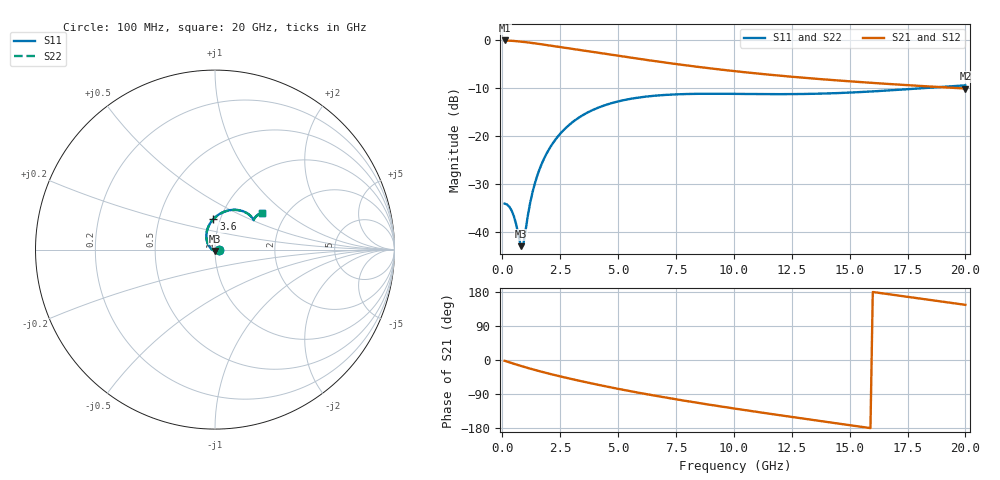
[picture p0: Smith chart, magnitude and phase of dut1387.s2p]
! Touchstone file exported from HFSS 2024.1.0
!  File:  C:/UserFiles/LocalFiles/RDL_TSV_Batchsim/temp_RDL_TSV_1387_1780402795.aedt
!  Generated:  08:34:44 PM Jun  2, 2026
!  Design:  RDL_TSV
!  Project:  temp_RDL_TSV_1387_1780402795
!  Setup:  Setup1
!  Solution:  Sweep
! Variables:
!  dtsv = 12.59um
!  hbump = 3um
!  htsv = 77.34um
!  ldown = 526.44um
!  lrdl = 344.08um
!  p = 40
!  p1 = 55.34um
!  rhole = 10um
!  subl = 2955.64um
!  t = 450um
!  tdown = 2.45um
!  trdl = 2.05um
!  viad = 10um
!  wdown = 28.2um
!  wrdl = 20.98um
!  xbump = 18um
# GHz S MA R 50.000000
! Terminal data exported
! Port[1] = TM1_1_T1
! Port[2] = TM1_4_T1
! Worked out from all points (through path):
!   200 points, 100 MHz to 20 GHz, reference 50 ohm
!   highest |S21| = -0.18 dB at 100 MHz (marker M1); lowest = -10.2 dB at 20 GHz (marker M2)
!   group delay of S21, straight-line fit = 28 ps
!   lowest |S11| = -43.0 dB at 800 MHz (marker M3), VSWR 1.01, Z = 50 - j0.708 ohm
!   |S11| at or under -10 dB: start of sweep to 18.49 GHz
!   |S22| runs from -43.0 to -9.5 dB; largest |S21 - S12| = 9.7e-15
!   S11 on the Smith chart (normalised r, x): 100 MHz: 1.04, -0.00; 3.6 GHz: 0.93, +0.32; 20 GHz: 1.52, +0.70
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0.1  0.01965 -3.9  0.9796 -2.0  0.9796 -2.0  0.01965 -3.9
! Gamma 0 0 0 0
! Port Impedance 50 0 50 0
0.3  0.01827 -14.3  0.9751 -6.0  0.9751 -6.0  0.01828 -14.3
0.5  0.01453 -29.8  0.9678 -9.9  0.9678 -9.9  0.01454 -29.8
0.6  0.01193 -41.1  0.9633 -11.8  0.9633 -11.8  0.01195 -41.1
0.8  0.007079 -87.8  0.953 -15.6  0.953 -15.6  0.007099 -87.7
0.9  0.00721 -129.3  0.9472 -17.4  0.9472 -17.4  0.007211 -129.0
1.2  0.01976 169.9  0.9282 -22.7  0.9282 -22.7  0.0197 170.0
1.4  0.03146 155.6  0.9145 -26.1  0.9145 -26.1  0.03138 155.7
1.6  0.04418 145.7  0.9004 -29.4  0.9004 -29.4  0.04406 145.7
1.8  0.05746 137.7  0.886 -32.6  0.886 -32.6  0.05732 137.7
2.1  0.07781 127.7  0.8645 -37.3  0.8645 -37.3  0.07763 127.7
2.5  0.1047 116.6  0.8362 -43.2  0.8362 -43.2  0.1045 116.6
3  0.1363 104.9  0.8021 -50.3  0.8021 -50.3  0.1361 104.9
3.5  0.1647 95.0  0.7694 -57.1  0.7694 -57.1  0.1644 95.0
3.6  0.17 93.2  0.763 -58.5  0.763 -58.5  0.1696 93.1
5  0.2272 72.4  0.6791 -76.1  0.6791 -76.1  0.2267 72.4
6.8  0.2631 54.9  0.5874 -96.4  0.5874 -96.4  0.2626 54.9
8.4  0.2726 45.3  0.522 -112.7  0.522 -112.7  0.272 45.3
10.1  0.2723 39.7  0.4676 -128.8  0.4676 -128.8  0.2717 39.6
13.4  0.2726 37.5  0.3937 -158.2  0.3937 -158.2  0.272 37.5
16.7  0.2959 39.0  0.345 173.5  0.345 173.5  0.2953 39.0
20  0.334 37.9  0.3096 145.5  0.3096 145.5  0.3333 37.8
